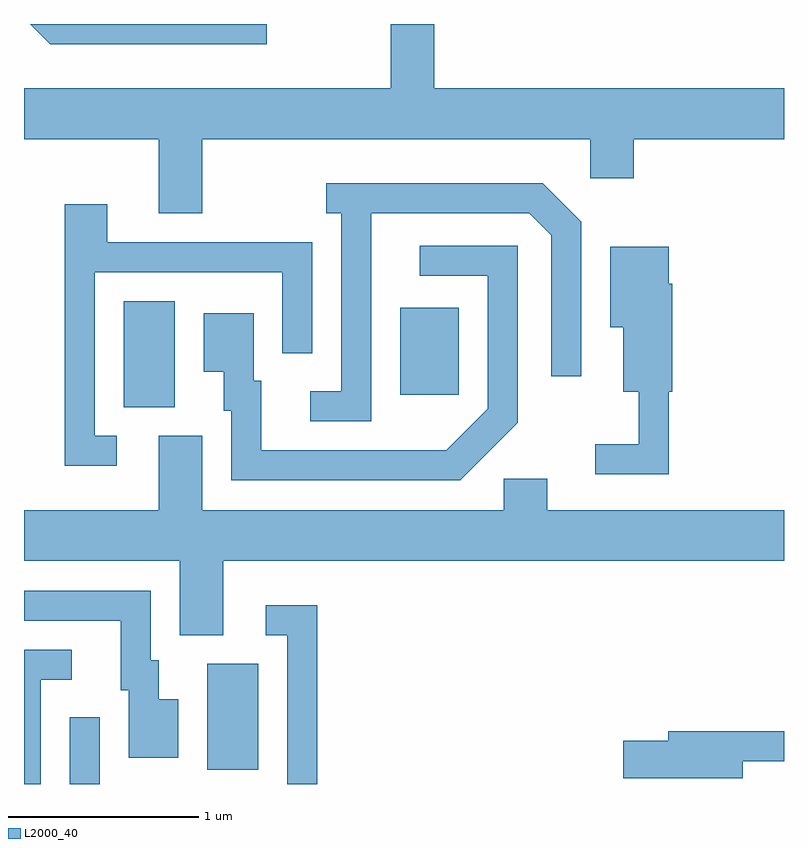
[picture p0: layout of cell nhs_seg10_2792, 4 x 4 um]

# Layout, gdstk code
import gdstk
lib = gdstk.Library(unit=1e-6, precision=1e-09)
def R(c, l, rs):  # rectangles x0, y0, x1, y1
    for r in rs: c.add(gdstk.rectangle(r[:2], r[2:], *l))
def P(c, l, *ps):  # polygons
    for p in ps: c.add(gdstk.Polygon(p, *l))
L2000_40 = (2000, 40)

nhs_seg10_2792 = lib.new_cell('nhs_seg10_2792')
R(nhs_seg10_2792, L2000_40, [(267.851,2110.522,268.009,2110.873), (268.576,2110.596,268.844,2111.154), (268.136,2112.506,268.404,2113.064), (269.591,2112.571,269.899,2113.029)])
P(nhs_seg10_2792, L2000_40, [(268.549,2113.916),(270.591,2113.916),(270.591,2113.711),(270.819,2113.711),(270.819,2113.916),(271.611,2113.916),(271.611,2114.184),(269.769,2114.184),(269.769,2114.522),(269.541,2114.522),(269.541,2114.184),(267.611,2114.184),(267.611,2113.916),(268.321,2113.916),(268.321,2113.526),(268.549,2113.526)],
  [(268.888,2114.522),(267.643,2114.522),(267.749,2114.416),(268.888,2114.416)],
  [(269.439,2113.526),(270.269,2113.526),(270.386,2113.409),(270.386,2112.668),(270.544,2112.668),(270.544,2113.482),(270.342,2113.684),(269.203,2113.684),(269.203,2113.526),(269.281,2113.526),(269.281,2112.589),(269.118,2112.589),(269.118,2112.431),(269.439,2112.431)],
  [(268.098,2112.354),(267.984,2112.354),(267.984,2113.216),(268.971,2113.216),(268.971,2112.788),(269.129,2112.788),(269.129,2113.374),(268.049,2113.374),(268.049,2113.574),(267.826,2113.574),(267.826,2112.196),(268.098,2112.196)],
  [(270.209,2112.424),(270.209,2113.354),(269.693,2113.354),(269.693,2113.196),(270.051,2113.196),(270.051,2112.497),(269.834,2112.279),(268.859,2112.279),(268.859,2112.644),(268.819,2112.644),(268.819,2112.999),(268.556,2112.999),(268.556,2112.691),(268.661,2112.691),(268.661,2112.486),(268.701,2112.486),(268.701,2112.121),(269.907,2112.121)],
  [(271.004,2112.586),(271.024,2112.586),(271.024,2113.154),(271.004,2113.154),(271.004,2113.349),(270.696,2113.349),(270.696,2112.926),(270.766,2112.926),(270.766,2112.586),(270.846,2112.586),(270.846,2112.309),(270.618,2112.309),(270.618,2112.151),(271.004,2112.151)],
  [(268.659,2111.696),(271.611,2111.696),(271.611,2111.964),(270.364,2111.964),(270.364,2112.129),(270.136,2112.129),(270.136,2111.964),(268.549,2111.964),(268.549,2112.354),(268.321,2112.354),(268.321,2111.964),(267.611,2111.964),(267.611,2111.696),(268.431,2111.696),(268.431,2111.306),(268.659,2111.306)],
  [(268.424,2110.969),(268.319,2110.969),(268.319,2111.174),(268.279,2111.174),(268.279,2111.539),(267.611,2111.539),(267.611,2111.381),(268.121,2111.381),(268.121,2111.016),(268.161,2111.016),(268.161,2110.661),(268.424,2110.661)],
  [(269.154,2111.464),(268.883,2111.464),(268.883,2111.306),(268.996,2111.306),(268.996,2110.522),(269.154,2110.522)],
  [(267.699,2111.071),(267.863,2111.071),(267.863,2111.229),(267.611,2111.229),(267.611,2110.522),(267.699,2110.522)],
  [(271.394,2110.641),(271.611,2110.641),(271.611,2110.799),(271.001,2110.799),(271.001,2110.749),(270.766,2110.749),(270.766,2110.551),(271.394,2110.551)])

lib.write_gds('nhs_seg10_2792.gds')
